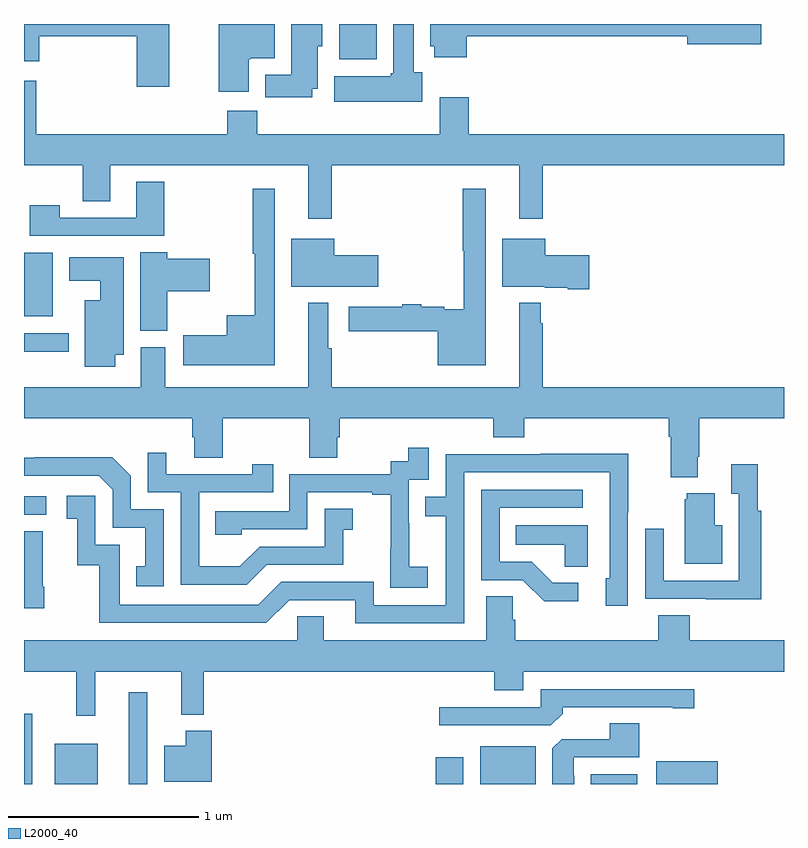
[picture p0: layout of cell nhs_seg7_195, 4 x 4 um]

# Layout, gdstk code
import gdstk
lib = gdstk.Library(unit=1e-6, precision=1e-09)
def R(c, l, rs):  # rectangles x0, y0, x1, y1
    for r in rs: c.add(gdstk.rectangle(r[:2], r[2:], *l))
def P(c, l, *ps):  # polygons
    for p in ps: c.add(gdstk.Polygon(p, *l))
L2000_40 = (2000, 40)

nhs_seg7_195 = lib.new_cell('nhs_seg7_195')
R(nhs_seg7_195, L2000_40, [(125,1024,125.043,1024.371), (125.162,1024,125.389,1024.213), (125.552,1024,125.649,1024.483), (127.166,1024,127.312,1024.141), (127.4,1024,127.693,1024.198), (127.982,1024,128.227,1024.051), (128.328,1024,128.65,1024.12), (125,1025.418,125.116,1025.514), (125,1026.275,125.236,1026.372), (125,1026.461,125.152,1026.796), (126.659,1027.814,126.856,1028)])
P(nhs_seg7_195, L2000_40, [(127.096,1027.746),(127.051,1027.746),(127.051,1028),(126.944,1028),(126.944,1027.74),(126.931,1027.74),(126.931,1027.726),(126.632,1027.726),(126.632,1027.592),(127.096,1027.592)],
  [(127.331,1027.936),(128.492,1027.936),(128.492,1027.894),(128.881,1027.894),(128.881,1028),(127.139,1028),(127.139,1027.884),(127.16,1027.884),(127.16,1027.824),(127.331,1027.824)],
  [(125.764,1028),(125,1028),(125,1027.805),(125.08,1027.805),(125.08,1027.936),(125.594,1027.936),(125.594,1027.671),(125.764,1027.671)],
  [(126.184,1027.814),(126.19,1027.814),(126.19,1027.82),(126.319,1027.82),(126.319,1028),(126.026,1028),(126.026,1027.644),(126.184,1027.644)],
  [(126.517,1027.658),(126.547,1027.658),(126.547,1027.884),(126.571,1027.884),(126.571,1028),(126.407,1028),(126.407,1027.732),(126.269,1027.732),(126.269,1027.614),(126.517,1027.614)],
  [(126.619,1027.256),(127.607,1027.256),(127.607,1026.975),(127.729,1026.975),(127.729,1027.256),(129,1027.256),(129,1027.42),(127.34,1027.42),(127.34,1027.615),(127.187,1027.615),(127.187,1027.42),(126.227,1027.42),(126.227,1027.544),(126.071,1027.544),(126.071,1027.42),(125.065,1027.42),(125.065,1027.702),(125,1027.702),(125,1027.256),(125.308,1027.256),(125.308,1027.066),(125.455,1027.066),(125.455,1027.256),(126.497,1027.256),(126.497,1026.975),(126.619,1026.975)],
  [(125.739,1027.171),(125.591,1027.171),(125.591,1026.981),(125.187,1026.981),(125.187,1027.045),(125.031,1027.045),(125.031,1026.885),(125.739,1026.885)],
  [(126.319,1027.132),(126.205,1027.132),(126.205,1026.791),(126.215,1026.791),(126.215,1026.466),(126.068,1026.466),(126.068,1026.361),(125.838,1026.361),(125.838,1026.203),(126.319,1026.203)],
  [(127.429,1027.132),(127.308,1027.132),(127.308,1026.807),(127.315,1026.807),(127.315,1026.499),(127.211,1026.499),(127.211,1026.512),(127.092,1026.512),(127.092,1026.524),(126.992,1026.524),(126.992,1026.511),(126.708,1026.511),(126.708,1026.382),(127.178,1026.382),(127.178,1026.203),(127.429,1026.203)],
  [(126.865,1026.783),(126.634,1026.783),(126.634,1026.871),(126.407,1026.871),(126.407,1026.617),(126.865,1026.617)],
  [(127.975,1026.783),(127.744,1026.783),(127.744,1026.871),(127.517,1026.871),(127.517,1026.617),(127.74,1026.617),(127.74,1026.611),(127.862,1026.611),(127.862,1026.605),(127.975,1026.605)],
  [(125.754,1026.593),(125.977,1026.593),(125.977,1026.764),(125.754,1026.764),(125.754,1026.8),(125.612,1026.8),(125.612,1026.385),(125.754,1026.385)],
  [(125.479,1026.26),(125.524,1026.26),(125.524,1026.772),(125.237,1026.772),(125.237,1026.65),(125.402,1026.65),(125.402,1026.547),(125.321,1026.547),(125.321,1026.195),(125.479,1026.195)],
  [(128.545,1025.722),(128.553,1025.722),(128.553,1025.924),(129,1025.924),(129,1026.088),(127.729,1026.088),(127.729,1026.425),(127.721,1026.425),(127.721,1026.532),(127.607,1026.532),(127.607,1026.088),(126.619,1026.088),(126.619,1026.293),(126.601,1026.293),(126.601,1026.532),(126.497,1026.532),(126.497,1026.088),(125.743,1026.088),(125.743,1026.3),(125.615,1026.3),(125.615,1026.088),(125,1026.088),(125,1025.924),(125.885,1025.924),(125.885,1025.826),(125.897,1025.826),(125.897,1025.716),(126.045,1025.716),(126.045,1025.924),(126.502,1025.924),(126.502,1025.716),(126.649,1025.716),(126.649,1025.826),(126.662,1025.826),(126.662,1025.924),(127.469,1025.924),(127.469,1025.825),(127.634,1025.825),(127.634,1025.924),(128.393,1025.924),(128.393,1025.828),(128.405,1025.828),(128.405,1025.615),(128.545,1025.615)],
  [(127.126,1025.143),(127.028,1025.143),(127.028,1025.372),(127.026,1025.372),(127.026,1025.601),(127.131,1025.601),(127.131,1025.77),(127.023,1025.77),(127.023,1025.7),(126.93,1025.7),(126.93,1025.631),(126.396,1025.631),(126.396,1025.436),(126.007,1025.436),(126.007,1025.313),(126.147,1025.313),(126.147,1025.34),(126.492,1025.34),(126.492,1025.535),(126.833,1025.535),(126.833,1025.523),(126.929,1025.523),(126.929,1025.239),(126.928,1025.239),(126.928,1025.033),(127.126,1025.033)],
  [(126.277,1025.154),(126.681,1025.154),(126.681,1025.339),(126.73,1025.339),(126.73,1025.449),(126.582,1025.449),(126.582,1025.25),(126.24,1025.25),(126.136,1025.146),(125.922,1025.146),(125.922,1025.535),(126.311,1025.535),(126.311,1025.683),(126.2,1025.683),(126.2,1025.631),(125.749,1025.631),(125.749,1025.743),(125.652,1025.743),(125.652,1025.535),(125.826,1025.535),(125.826,1025.049),(126.172,1025.049)],
  [(127.317,1025.64),(128.082,1025.64),(128.082,1025.082),(128.063,1025.082),(128.063,1024.938),(128.178,1024.938),(128.178,1025.431),(128.181,1025.431),(128.181,1025.738),(127.717,1025.738),(127.717,1025.736),(127.221,1025.736),(127.221,1025.511),(127.111,1025.511),(127.111,1025.41),(127.221,1025.41),(127.221,1024.941),(126.84,1024.941),(126.84,1025.064),(126.354,1025.064),(126.234,1024.944),(125.505,1024.944),(125.505,1025.259),(125.376,1025.259),(125.376,1025.518),(125.226,1025.518),(125.226,1025.397),(125.279,1025.397),(125.279,1025.151),(125.397,1025.151),(125.397,1024.848),(126.276,1024.848),(126.396,1024.968),(126.743,1024.968),(126.743,1024.845),(127.317,1024.845)],
  [(125.736,1025.445),(125.562,1025.445),(125.562,1025.622),(125.464,1025.72),(125.056,1025.72),(125.056,1025.718),(125,1025.718),(125,1025.622),(125.394,1025.622),(125.466,1025.55),(125.466,1025.349),(125.639,1025.349),(125.639,1025.145),(125.59,1025.145),(125.59,1025.04),(125.736,1025.04)],
  [(128.879,1025.438),(128.861,1025.438),(128.861,1025.683),(128.723,1025.683),(128.723,1025.527),(128.763,1025.527),(128.763,1025.07),(128.367,1025.07),(128.367,1025.344),(128.271,1025.344),(128.271,1024.974),(128.587,1024.974),(128.587,1024.973),(128.879,1024.973)],
  [(127.918,1025.058),(127.783,1025.058),(127.672,1025.169),(127.503,1025.169),(127.503,1025.454),(127.942,1025.454),(127.942,1025.55),(127.407,1025.55),(127.407,1025.073),(127.626,1025.073),(127.739,1024.961),(127.918,1024.961)],
  [(128.674,1025.362),(128.635,1025.362),(128.635,1025.53),(128.489,1025.53),(128.489,1025.499),(128.477,1025.499),(128.477,1025.159),(128.674,1025.159)],
  [(127.966,1025.362),(127.588,1025.362),(127.588,1025.258),(127.845,1025.258),(127.845,1025.143),(127.966,1025.143)],
  [(125.106,1025.038),(125.098,1025.038),(125.098,1025.329),(125,1025.329),(125,1024.926),(125.106,1024.926)],
  [(127.475,1024.493),(127.627,1024.493),(127.627,1024.592),(129,1024.592),(129,1024.756),(128.504,1024.756),(128.504,1024.889),(128.339,1024.889),(128.339,1024.756),(127.586,1024.756),(127.586,1024.865),(127.572,1024.865),(127.572,1024.988),(127.433,1024.988),(127.433,1024.756),(126.577,1024.756),(126.577,1024.883),(126.438,1024.883),(126.438,1024.756),(125,1024.756),(125,1024.592),(125.275,1024.592),(125.275,1024.359),(125.375,1024.359),(125.375,1024.592),(125.828,1024.592),(125.828,1024.364),(125.945,1024.364),(125.945,1024.592),(127.475,1024.592)],
  [(127.835,1024.37),(127.835,1024.404),(128.414,1024.404),(128.414,1024.399),(128.527,1024.399),(128.527,1024.5),(127.719,1024.5),(127.719,1024.404),(127.185,1024.404),(127.185,1024.308),(127.773,1024.308)],
  [(127.897,1024.043),(127.893,1024.043),(127.893,1024.14),(128.237,1024.14),(128.237,1024.319),(128.084,1024.319),(128.084,1024.236),(127.83,1024.236),(127.781,1024.187),(127.781,1024),(127.897,1024)],
  [(125.987,1024.279),(125.852,1024.279),(125.852,1024.201),(125.738,1024.201),(125.738,1024.013),(125.987,1024.013)])

lib.write_gds('nhs_seg7_195.gds')
